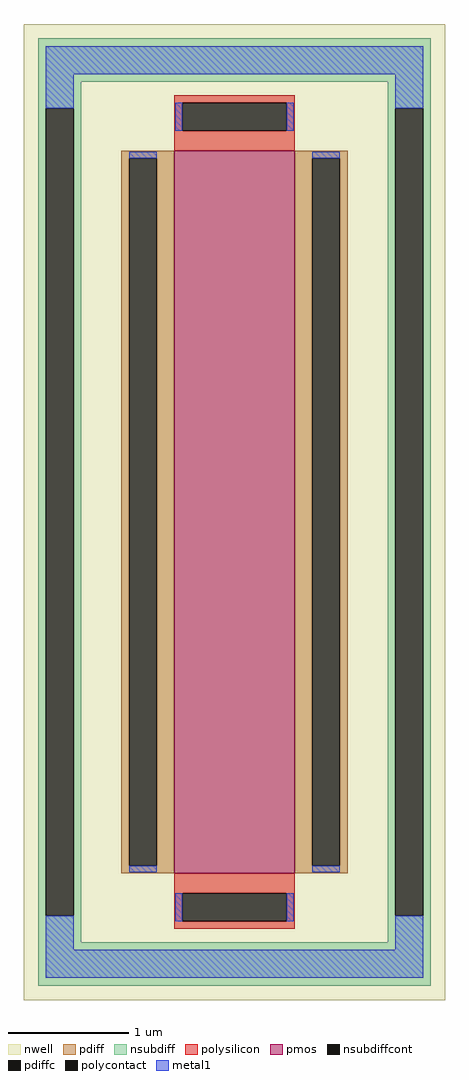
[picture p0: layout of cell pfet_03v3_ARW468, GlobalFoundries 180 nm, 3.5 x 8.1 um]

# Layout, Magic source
magic
tech gf180mcuD
magscale 1 10
<< nwell >>
rect -350 -810 350 810
<< pmos >>
rect -100 -600 100 600
<< pdiff >>
rect -188 587 -100 600
rect -188 -587 -175 587
rect -129 -587 -100 587
rect -188 -600 -100 -587
rect 100 587 188 600
rect 100 -587 129 587
rect 175 -587 188 587
rect 100 -600 188 -587
<< pdiffc >>
rect -175 -587 -129 587
rect 129 -587 175 587
<< nsubdiff >>
rect -326 714 326 786
rect -326 670 -254 714
rect -326 -670 -313 670
rect -267 -670 -254 670
rect 254 670 326 714
rect -326 -714 -254 -670
rect 254 -670 267 670
rect 313 -670 326 670
rect 254 -714 326 -670
rect -326 -786 326 -714
<< nsubdiffcont >>
rect -313 -670 -267 670
rect 267 -670 313 670
<< polysilicon >>
rect -100 679 100 692
rect -100 633 -87 679
rect 87 633 100 679
rect -100 600 100 633
rect -100 -633 100 -600
rect -100 -679 -87 -633
rect 87 -679 100 -633
rect -100 -692 100 -679
<< polycontact >>
rect -87 633 87 679
rect -87 -679 87 -633
<< metal1 >>
rect -313 727 313 773
rect -313 670 -267 727
rect -98 633 -87 679
rect 87 633 98 679
rect 267 670 313 727
rect -175 587 -129 598
rect -175 -598 -129 -587
rect 129 587 175 598
rect 129 -598 175 -587
rect -313 -727 -267 -670
rect -98 -679 -87 -633
rect 87 -679 98 -633
rect 267 -727 313 -670
rect -313 -773 313 -727
<< properties >>
string FIXED_BBOX -290 -750 290 750
string gencell pfet_03v3
string library gf180mcu
string parameters w 6.0 l 1.0 m 1 nf 1 diffcov 100 polycov 100 guard 1 glc 1 grc 1 gtc 0 gbc 0 tbcov 100 rlcov 100 topc 1 botc 1 poverlap 0 doverlap 1 lmin 0.28 wmin 0.22 class mosfet full_metal 1 compatible {pfet_03v3 pfet_06v0} ad {int((nf+1)/2) * W/nf * 0.18u} as {int((nf+2)/2) * W/nf * 0.18u} pd {2*int((nf+1)/2) * (W/nf + 0.18u)} ps {2*int((nf+2)/2) * (W/nf + 0.18u)} nrd {0.18u / W} nrs {0.18u / W} sa 0 sb 0 sd 0
<< end >>
